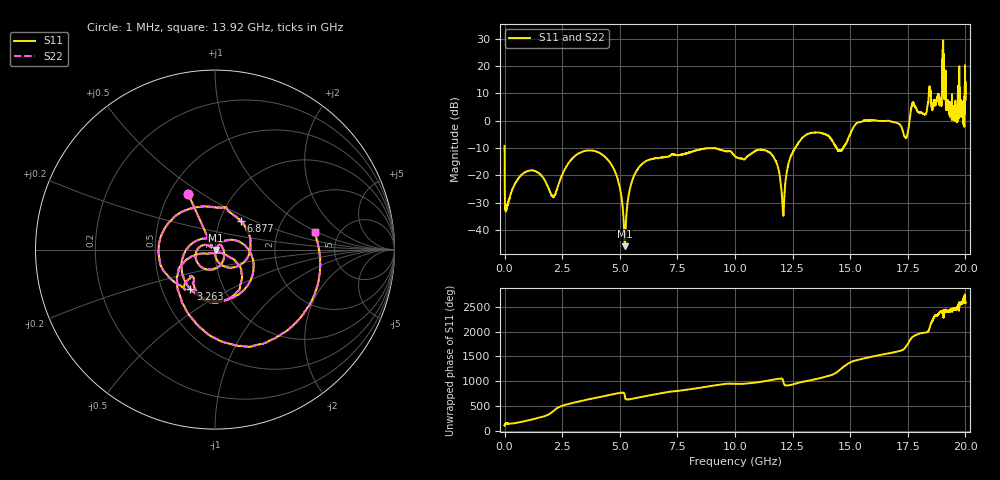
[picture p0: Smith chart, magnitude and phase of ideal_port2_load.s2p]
! Created with skrf (http://scikit-rf.org).
# GHz S RI R 50.0
!freq ReS11 ImS11 ReS21 ImS21 ReS12 ImS12 ReS22 ImS22
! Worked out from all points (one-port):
!   10001 points, 1 MHz to 20 GHz, reference 50 ohm
!   lowest |S11| = -45.8 dB at 5.221 GHz (marker M1), VSWR 1.01, Z = 50.5 - j0.178 ohm
!   |S11| at or under -10 dB: 1.179 MHz to 12.61 GHz (12.61 GHz wide, 200 % of centre); 14.41 GHz to 14.69 GHz (276.3 MHz wide, 1.9 % of centre)
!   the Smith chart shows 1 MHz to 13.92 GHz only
!   S11 on the Smith chart (normalised r, x): 1 MHz: 0.62, +0.44; 3.263 GHz: 0.70, -0.33; 6.877 GHz: 1.26, +0.42; 13.92 GHz: 3.28, +0.96
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0.001  -0.1503 0.3119  0 0  0 0  -0.1503 0.3119
3.262837  -0.1366 -0.219  0 0  0 0  -0.1366 -0.219
3.334833  -0.1109 -0.2436  0 0  0 0  -0.1109 -0.2436
5.220739  0.00479 -0.00177  0 0  0 0  0.00479 -0.00177
6.668667  0.1774 0.1054  0 0  0 0  0.1774 0.1054
6.876656  0.1436 0.1596  0 0  0 0  0.1436 0.1596
10.0005  -0.1484 -0.1672  0 0  0 0  -0.1484 -0.1672
12.0904  0.00604 -0.0191  0 0  0 0  0.00604 -0.0191
13.33433  0.3553 -0.4821  0 0  0 0  0.3553 -0.4821
13.9223  0.5551 0.1  0 0  0 0  0.5551 0.1
15.61222  0.9303 0.3792  0 0  0 0  0.9303 0.3792
16.66817  -0.5297 0.8469  0 0  0 0  -0.5297 0.8469
17.44813  0.0295 -0.5038  0 0  0 0  0.0295 -0.5038
17.75611  -0.5442 1.981  0 0  0 0  -0.5442 1.981
18.32808  -1.542 -0.1794  0 0  0 0  -1.542 -0.1794
18.40208  -2.144 -1.53  0 0  0 0  -2.144 -1.53
18.53607  1.547 1.017  0 0  0 0  1.547 1.017
18.63607  -1.285 1.766  0 0  0 0  -1.285 1.766
19.06805  -2.786 -3.318  0 0  0 0  -2.786 -3.318
19.18604  -0.6424 -1.453  0 0  0 0  -0.6424 -1.453
19.69202  1.278 -0.4145  0 0  0 0  1.278 -0.4145
20  1.253 2.435  0 0  0 0  1.253 2.435
